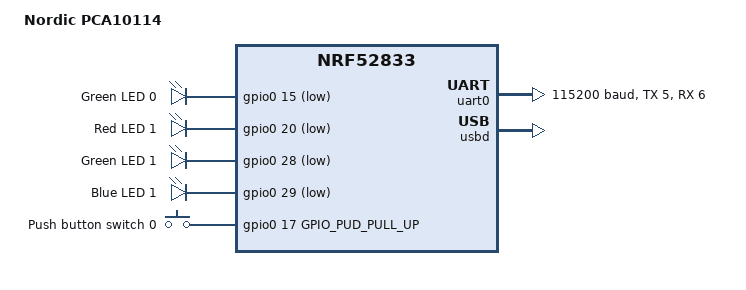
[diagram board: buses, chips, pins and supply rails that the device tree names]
/*
 * Copyright (c) 2020 Nordic Semiconductor ASA
 *
 * SPDX-License-Identifier: LicenseRef-BSD-5-Clause-Nordic
 */

/dts-v1/;
#include <nordic/nrf52833_qiaa.dtsi>

/ {
	model = "Nordic PCA10114";
	compatible = "nordic,pca10114", "nordic,nrf52833-qiaa",
		     "nordic,nrf52833";

	chosen {
		zephyr,console = &uart0;
		zephyr,sram = &sram0;
		zephyr,flash = &flash0;
		zephyr,code-partition = &slot0_partition;
	};

	leds {
		compatible = "gpio-leds";
		led0_green: led_0 {
			gpios = <&gpio0 15 GPIO_INT_ACTIVE_LOW>;
			label = "Green LED 0";
		};
		led1_red: led_1 {
			gpios = <&gpio0 20 GPIO_INT_ACTIVE_LOW>;
			label = "Red LED 1";
		};
		led1_green: led_2 {
			gpios = <&gpio0 28 GPIO_INT_ACTIVE_LOW>;
			label = "Green LED 1";
		};
		led1_blue: led_3 {
			gpios = <&gpio0 29 GPIO_INT_ACTIVE_LOW>;
			label = "Blue LED 1";
		};
	};

	buttons {
		compatible = "gpio-keys";
		button0: button_0 {
			gpios = <&gpio0 17 GPIO_PUD_PULL_UP>;
			label = "Push button switch 0";
		};
	};

	/* These aliases are provided for compatibility with samples */
	aliases {
		sw0 = &button0;
		led0 = &led0_green;
		led1 = &led1_red;
		led2 = &led1_green;
		led3 = &led1_blue;
		led0-green = &led0_green;
		led1-red   = &led1_red;
		led1-green = &led1_green;
		led1-blue  = &led1_blue;
	};
};

&gpiote {
	status = "okay";
};

&gpio0 {
	status = "okay";
};

&gpio1 {
	status = "okay";
};

&uart0 {
	compatible = "nordic,nrf-uart";
	status = "okay";
	current-speed = <115200>;
	tx-pin = <5>;
	rx-pin = <6>;
	rts-pin = <7>;
	cts-pin = <8>;
};

&sram0 {
	reg = <0x20000000 DT_SIZE_K(32)>;
};

&flash0 {
	reg = <0x00000000 DT_SIZE_K(256)>;

	/*
	 * For more information, see:
	 * http://docs.zephyrproject.org/latest/guides/dts/index.html#flash-partitions
	 */
	partitions {
		compatible = "fixed-partitions";
		#address-cells = <1>;
		#size-cells = <1>;

		boot_partition: partition@0 {
			label = "mcuboot";
			reg = <0x000000000 0x6000>;
		};
		slot0_partition: partition@6000 {
			label = "image-0";
			reg = <0x00006000 0x38000>;
		};
		storage_partition: partition@3e000 {
			label = "storage";
			reg = <0x0003e000 0x00002000>;
		};
	};
};

&usbd {
	compatible = "nordic,nrf-usbd";
	status = "okay";
};
